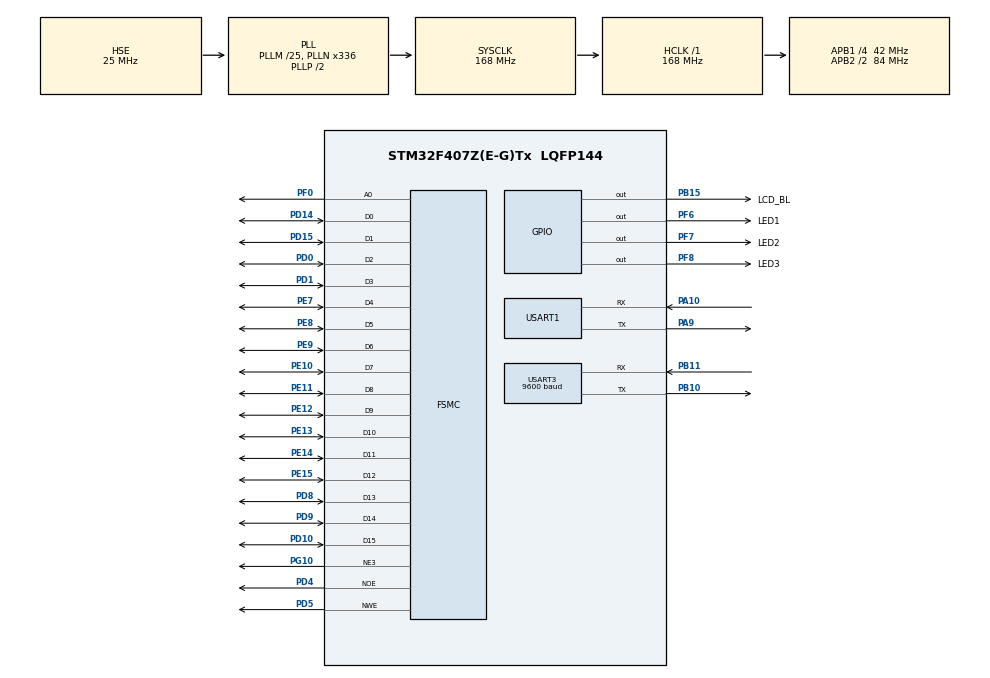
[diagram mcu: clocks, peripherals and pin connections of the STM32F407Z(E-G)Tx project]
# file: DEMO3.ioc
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FREERTOS.Tasks01=defaultTask,24,128,StartDefaultTask,Default,NULL,Dynamic,NULL,NULL;TaskLoRa,40,512,StartTask02,Default,NULL,Dynamic,NULL,NULL;TaskLCD,24,1024,StartTask03,Default,NULL,Dynamic,NULL,NULL
FREERTOS.configTOTAL_HEAP_SIZE=32768
FSMC.AddressSetupTime3=4
FSMC.BusTurnAroundDuration3=0
FSMC.DataSetupTime3=15
Mcu.Family=STM32F4
Mcu.Name=STM32F407Z(E-G)Tx
Mcu.Package=LQFP144
NVIC.PriorityGroup=NVIC_PRIORITYGROUP_4
NVIC.TIM1_UP_TIM10_IRQn=true\:15\:0\:false\:false\:true\:false\:false\:true\:true
NVIC.TimeBase=TIM1_UP_TIM10_IRQn
NVIC.TimeBaseIP=TIM1
NVIC.USART3_IRQn=true\:5\:0\:false\:false\:true\:true\:true\:true\:true
PA10.Mode=Asynchronous
PA10.Signal=USART1_RX
PA13.Mode=Serial_Wire
PA13.Signal=SYS_JTMS-SWDIO
PA14.Mode=Serial_Wire
PA14.Signal=SYS_JTCK-SWCLK
PA9.Mode=Asynchronous
PA9.Signal=USART1_TX
PB10.Mode=Asynchronous
PB10.Signal=USART3_TX
PB11.Mode=Asynchronous
PB11.Signal=USART3_RX
PB15.GPIO_Label=LCD_BL
PB15.PinState=GPIO_PIN_SET
PB15.Signal=GPIO_Output
PD0.Signal=FSMC_D2_DA2
PD1.Signal=FSMC_D3_DA3
PD10.Signal=FSMC_D15_DA15
PD14.Signal=FSMC_D0_DA0
PD15.Signal=FSMC_D1_DA1
PD4.Signal=FSMC_NOE
PD5.Signal=FSMC_NWE
PD8.Signal=FSMC_D13_DA13
PD9.Signal=FSMC_D14_DA14
PE10.Signal=FSMC_D7_DA7
PE11.Signal=FSMC_D8_DA8
PE12.Signal=FSMC_D9_DA9
PE13.Signal=FSMC_D10_DA10
PE14.Signal=FSMC_D11_DA11
PE15.Signal=FSMC_D12_DA12
PE7.Signal=FSMC_D4_DA4
PE8.Signal=FSMC_D5_DA5
PE9.Signal=FSMC_D6_DA6
PF0.Signal=FSMC_A0
PF6.GPIO_Label=LED1
PF6.PinState=GPIO_PIN_SET
PF6.Signal=GPIO_Output
PF7.GPIO_Label=LED2
PF7.PinState=GPIO_PIN_SET
PF7.Signal=GPIO_Output
PF8.GPIO_Label=LED3
PF8.PinState=GPIO_PIN_SET
PF8.Signal=GPIO_Output
PG10.Mode=NorPsramChipSelect3_3
PG10.Signal=FSMC_NE3
PH0-OSC_IN.Mode=HSE-External-Oscillator
PH0-OSC_IN.Signal=RCC_OSC_IN
PH1-OSC_OUT.Mode=HSE-External-Oscillator
PH1-OSC_OUT.Signal=RCC_OSC_OUT
ProjectManager.HeapSize=0x200
ProjectManager.StackSize=0x400
ProjectManager.TargetToolchain=MDK-ARM V5.27
RCC.48MHZClocksFreq_Value=84000000
RCC.AHBFreq_Value=168000000
RCC.APB1CLKDivider=RCC_HCLK_DIV4
RCC.APB1Freq_Value=42000000
RCC.APB1TimFreq_Value=84000000
RCC.APB2CLKDivider=RCC_HCLK_DIV2
RCC.APB2Freq_Value=84000000
RCC.APB2TimFreq_Value=168000000
RCC.CortexFreq_Value=168000000
RCC.HCLKFreq_Value=168000000
RCC.HSE_VALUE=25000000
RCC.HSI_VALUE=16000000
RCC.LSE_VALUE=32768
RCC.PLLM=25
RCC.PLLN=336
RCC.PLLSourceVirtual=RCC_PLLSOURCE_HSE
RCC.SYSCLKFreq_VALUE=168000000
RCC.SYSCLKSource=RCC_SYSCLKSOURCE_PLLCLK
RCC.VCOOutputFreq_Value=336000000
SH.FSMC_A0.0=FSMC_A0,A0_3
SH.FSMC_D0_DA0.0=FSMC_D0,16b-d3
SH.FSMC_D10_DA10.0=FSMC_D10,16b-d3
SH.FSMC_D11_DA11.0=FSMC_D11,16b-d3
SH.FSMC_D12_DA12.0=FSMC_D12,16b-d3
SH.FSMC_D13_DA13.0=FSMC_D13,16b-d3
SH.FSMC_D14_DA14.0=FSMC_D14,16b-d3
SH.FSMC_D15_DA15.0=FSMC_D15,16b-d3
SH.FSMC_D1_DA1.0=FSMC_D1,16b-d3
SH.FSMC_D2_DA2.0=FSMC_D2,16b-d3
SH.FSMC_D3_DA3.0=FSMC_D3,16b-d3
SH.FSMC_D4_DA4.0=FSMC_D4,16b-d3
SH.FSMC_D5_DA5.0=FSMC_D5,16b-d3
SH.FSMC_D6_DA6.0=FSMC_D6,16b-d3
SH.FSMC_D7_DA7.0=FSMC_D7,16b-d3
SH.FSMC_D8_DA8.0=FSMC_D8,16b-d3
SH.FSMC_D9_DA9.0=FSMC_D9,16b-d3
SH.FSMC_NOE.0=FSMC_NOE,Lcd3
SH.FSMC_NWE.0=FSMC_NWE,Lcd3
USART1.VirtualMode=VM_ASYNC
USART3.BaudRate=9600
USART3.VirtualMode=VM_ASYNC
VP_FREERTOS_VS_CMSIS_V2.Mode=CMSIS_V2
VP_SYS_VS_tim1.Mode=TIM1
board=custom

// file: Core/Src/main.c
/* USER CODE BEGIN Header */
/**
  ******************************************************************************
  * @file           : main.c
  * @brief          : Main program body
  ******************************************************************************
  * @attention
  *
  * Copyright (c) 2026 STMicroelectronics.
  * All rights reserved.
  *
  * This software is licensed under terms that can be found in the LICENSE file
  * in the root directory of this software component.
  * If no LICENSE file comes with this software, it is provided AS-IS.
  *
  ******************************************************************************
  */
/* USER CODE END Header */
#include "main.h"
#include "cmsis_os.h"
#include "usart.h"
#include "gpio.h"
#include "fsmc.h"

/* USER CODE BEGIN Includes */

#include <stdio.h>
#include "lora_protocol.h"
#include "bsp_nt35510_lcd.h"
#include "fonts.h"

/* USER CODE END Includes */

/* USER CODE BEGIN PV */

extern void LoRa_Rx_Handler(uint8_t byte);

/* USER CODE END PV */

void SystemClock_Config(void);
void MX_FREERTOS_Init(void);

/* USER CODE BEGIN 0 */

/* --- 1. 重定向 printf 到 UART1 (连接电脑) --- */
int fputc(int ch, FILE *f)
{
  // 注意：此处使用 &huart1
  HAL_UART_Transmit(&huart1, (uint8_t *)&ch, 1, 0xFFFF);
  return ch;
}

/* USER CODE END 0 */

int main(void)
{

  /* MCU Configuration--------------------------------------------------------*/

  /* Reset of all peripherals, Initializes the Flash interface and the Systick. */
  HAL_Init();

  /* Configure the system clock */
  SystemClock_Config();

  /* Initialize all configured peripherals */
  MX_GPIO_Init();
  MX_USART1_UART_Init();
  MX_USART3_UART_Init();
  MX_FSMC_Init();
  /* USER CODE BEGIN 2 */

  printf("STM32F407 LoRa Receiver Ready!\r\n");
  printf("UART1 -> PC, UART3 -> LoRa\r\n");

  // --- 2. 开启 UART3 接收中断 (重要) ---
  // 启动接收 1 个字节，数据存入 rx_byte_u3
  HAL_UART_Receive_IT(&huart3, &rx_byte_u3, 1);

	// 1. 初始化屏幕 (这一步非常关键)
  NT35510_Init();

  // 2. 确保背光点亮 (双重保险)
  HAL_GPIO_WritePin(LCD_BL_GPIO_Port, LCD_BL_Pin, GPIO_PIN_SET);

  // 3. 刷屏测试
  // 模式6通常是横屏，如果方向反了试下 0-7
  NT35510_GramScan(6);

  // 清屏为黑色
  LCD_SetColors(WHITE, BLACK);
  NT35510_Clear(0, 0, 800, 480);

  // 显示文字
  LCD_SetFont(&Font16x32);
  NT35510_DispStringLine_EN(LINE(1), (char*)"     STM32 LoRa Ready     ");
  NT35510_DispStringLine_EN(LINE(2), (char*)"--------------------------");

  /* USER CODE END 2 */

  /* Init scheduler */
  osKernelInitialize();  /* Call init function for freertos objects (in cmsis_os2.c) */
  MX_FREERTOS_Init();

  /* Start scheduler */
  osKernelStart();

  /* We should never get here as control is now taken by the scheduler */

  /* Infinite loop */
  while (1)
  {

    /* USER CODE BEGIN 3 */
    // --- 3. 轮询处理数据 ---
//    LoRa_Task_Process();

//    HAL_GPIO_TogglePin(LED1_GPIO_Port, LED1_Pin);
//
//		HAL_Delay(500);

  }
  /* USER CODE END 3 */
}

void SystemClock_Config(void)
{
  RCC_OscInitTypeDef RCC_OscInitStruct = {0};
  RCC_ClkInitTypeDef RCC_ClkInitStruct = {0};

  /** Configure the main internal regulator output voltage
  */
  __HAL_RCC_PWR_CLK_ENABLE();
  __HAL_PWR_VOLTAGESCALING_CONFIG(PWR_REGULATOR_VOLTAGE_SCALE1);

  /** Initializes the RCC Oscillators according to the specified parameters
  * in the RCC_OscInitTypeDef structure.
  */
  RCC_OscInitStruct.OscillatorType = RCC_OSCILLATORTYPE_HSE;
  RCC_OscInitStruct.HSEState = RCC_HSE_ON;
  RCC_OscInitStruct.PLL.PLLState = RCC_PLL_ON;
  RCC_OscInitStruct.PLL.PLLSource = RCC_PLLSOURCE_HSE;
  RCC_OscInitStruct.PLL.PLLM = 25;
  RCC_OscInitStruct.PLL.PLLN = 336;
  RCC_OscInitStruct.PLL.PLLP = RCC_PLLP_DIV2;
  RCC_OscInitStruct.PLL.PLLQ = 4;
  if (HAL_RCC_OscConfig(&RCC_OscInitStruct) != HAL_OK)
  {
    Error_Handler();
  }

  /** Initializes the CPU, AHB and APB buses clocks
  */
  RCC_ClkInitStruct.ClockType = RCC_CLOCKTYPE_HCLK|RCC_CLOCKTYPE_SYSCLK
                              |RCC_CLOCKTYPE_PCLK1|RCC_CLOCKTYPE_PCLK2;
  RCC_ClkInitStruct.SYSCLKSource = RCC_SYSCLKSOURCE_PLLCLK;
  RCC_ClkInitStruct.AHBCLKDivider = RCC_SYSCLK_DIV1;
  RCC_ClkInitStruct.APB1CLKDivider = RCC_HCLK_DIV4;
  RCC_ClkInitStruct.APB2CLKDivider = RCC_HCLK_DIV2;

  if (HAL_RCC_ClockConfig(&RCC_ClkInitStruct, FLASH_LATENCY_5) != HAL_OK)
  {
    Error_Handler();
  }
}

/* USER CODE BEGIN 4 */

/* --- 4. 串口中断回调函数 --- */
void HAL_UART_RxCpltCallback(UART_HandleTypeDef *huart)
{
    // 判断是否是 UART3 (LoRa) 触发的中断
    if(huart->Instance == USART3)
    {
        // 处理接收到的字节
        LoRa_Rx_Handler(rx_byte_u3);

        // 重新开启中断，准备接收下一个字节
        HAL_UART_Receive_IT(&huart3, &rx_byte_u3, 1);
    }
}

/* USER CODE END 4 */

void HAL_TIM_PeriodElapsedCallback(TIM_HandleTypeDef *htim)
{
  if (htim->Instance == TIM1)
  {
    HAL_IncTick();
  }
}

void Error_Handler(void)
{
  __disable_irq();
  while (1)
  {
  }
}

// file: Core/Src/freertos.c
/* USER CODE BEGIN Header */
/**
  ******************************************************************************
  * File Name          : freertos.c
  * Description        : Code for freertos applications
  ******************************************************************************
  * @attention
  *
  * Copyright (c) 2026 STMicroelectronics.
  * All rights reserved.
  *
  * This software is licensed under terms that can be found in the LICENSE file
  * in the root directory of this software component.
  * If no LICENSE file comes with this software, it is provided AS-IS.
  *
  ******************************************************************************
  */
/* USER CODE END Header */

#include "FreeRTOS.h"
#include "task.h"
#include "main.h"
#include "cmsis_os.h"

/* USER CODE BEGIN Includes */
#include <stdio.h>
#include "usart.h"           // ?? huart1 ??
#include "lora_protocol.h"
#include "bsp_nt35510_lcd.h"
#include "fonts.h"

/* USER CODE END Includes */

/* USER CODE BEGIN Variables */

osMessageQueueId_t LoRaDataQueueHandle;  // ????????

/* USER CODE END Variables */
/* Definitions for defaultTask */
osThreadId_t defaultTaskHandle;
const osThreadAttr_t defaultTask_attributes = {
  .name = "defaultTask",
  .stack_size = 128 * 4,
  .priority = (osPriority_t) osPriorityNormal,
};
/* Definitions for TaskLoRa */
osThreadId_t TaskLoRaHandle;
const osThreadAttr_t TaskLoRa_attributes = {
  .name = "TaskLoRa",
  .stack_size = 512 * 4,
  .priority = (osPriority_t) osPriorityHigh,
};
/* Definitions for TaskLCD */
osThreadId_t TaskLCDHandle;
const osThreadAttr_t TaskLCD_attributes = {
  .name = "TaskLCD",
  .stack_size = 1024 * 4,
  .priority = (osPriority_t) osPriorityNormal,
};

void StartDefaultTask(void *argument);
void StartTask02(void *argument);
void StartTask03(void *argument);

void MX_FREERTOS_Init(void); /* (MISRA C 2004 rule 8.1) */

void MX_FREERTOS_Init(void) {

  /* USER CODE BEGIN RTOS_QUEUES */
  /* add queues, ... */

	// ????:?? 2 ??,?????? LoRa_Packet_t ??????
	LoRaDataQueueHandle = osMessageQueueNew(2, sizeof(LoRa_Packet_t), NULL);

  /* USER CODE END RTOS_QUEUES */

  /* Create the thread(s) */
  /* creation of defaultTask */
  defaultTaskHandle = osThreadNew(StartDefaultTask, NULL, &defaultTask_attributes);

  /* creation of TaskLoRa */
  TaskLoRaHandle = osThreadNew(StartTask02, NULL, &TaskLoRa_attributes);

  /* creation of TaskLCD */
  TaskLCDHandle = osThreadNew(StartTask03, NULL, &TaskLCD_attributes);

}

void StartDefaultTask(void *argument)
{
  for(;;)
  {
    osDelay(1);
  }
}

void StartTask02(void *argument)
{
  /* USER CODE BEGIN StartTask02 */
  /* Infinite loop */
  for(;;)
  {
// ????? LoRa ???? (is_data_ready ?????)
    if (is_data_ready)
    {
      is_data_ready = 0; // ?????

      // 1. ?????? VOFA+
      HAL_UART_Transmit(&huart1, (uint8_t*)&received_data, sizeof(LoRa_Packet_t), 10);

      // 2. ???????,??? LCD ?? (????)
      osMessageQueuePut(LoRaDataQueueHandle, &received_data, 0U, 0U);
    }

    // ??????? 5ms ???,???????????? CPU
    osDelay(5);  }
  /* USER CODE END StartTask02 */
}

void StartTask03(void *argument)
{
  /* USER CODE BEGIN StartTask03 */
	LoRa_Packet_t lcd_data;
  char lcd_buf[64];

  // ??????????,??????
  LCD_SetColors(WHITE, BLACK);
  NT35510_DispStringLine_EN(LINE(1), (char*)"   RTOS LoRa Terminal ");

  for(;;)
  {
    // ??????,????????
    // osWaitForever ?????????,LCD ??????? CPU ??
    if (osMessageQueueGet(LoRaDataQueueHandle, &lcd_data, NULL, osWaitForever) == osOK)
    {
      // --- ?????? ---
      LCD_SetFont(&Font16x32);

        // --- 显示温度 (Temp) ---
        // 为了防止数字变化时原来的字没擦干净，我们在字符串后面多加几个空格覆盖
        sprintf(lcd_buf, "Temp: %.1f C     ", received_data.temperature);
        LCD_SetColors(RED, BLACK); // 温度用红色显示
        NT35510_DispStringLine_EN(LINE(3), (char*)lcd_buf);

        // --- 显示湿度 (Hum) ---
        sprintf(lcd_buf, "Hum:  %.1f %%     ", received_data.humidity);
        LCD_SetColors(BLUE, BLACK); // 湿度用蓝色显示
        NT35510_DispStringLine_EN(LINE(4), (char*)lcd_buf);

        // --- 显示姿态 (Pitch/Roll) ---
        sprintf(lcd_buf, "acc_x: %.3f   gyro_x: %.3f", received_data.acc_x, received_data.gyro_x);
        LCD_SetColors(YELLOW, BLACK); // 姿态用黄色
        NT35510_DispStringLine_EN(LINE(6), (char*)lcd_buf);

        sprintf(lcd_buf, "acc_y: %.3f   gyro_y: %.3f", received_data.acc_y, received_data.gyro_y);
        LCD_SetColors(YELLOW, BLACK); // 姿态用黄色
        NT35510_DispStringLine_EN(LINE(8), (char*)lcd_buf);

        sprintf(lcd_buf, "acc_z: %.3f   gyro_z: %.3f", received_data.acc_z, received_data.gyro_z);
        LCD_SetColors(YELLOW, BLACK); // 姿态用黄色
        NT35510_DispStringLine_EN(LINE(10), (char*)lcd_buf);

        // --- 如果有 RSSI (信号强度) ---
        // 假设你有一个变量存RSSI，如果没有可以先显示经纬度
        sprintf(lcd_buf, "Lat: %.4f       Lon: %.4f", received_data.latitude, received_data.longitude);
        LCD_SetColors(WHITE, BLACK);
        NT35510_DispStringLine_EN(LINE(12), (char*)lcd_buf);

        // 记得最后改回白色，以免影响其他显示
        LCD_SetColors(WHITE, BLACK);

				// ----------------------------------------
        // 3. 心跳指示 (Heartbeat)
        // ----------------------------------------
        // 定义一个静态变量，每次进入函数时它的值会被保留
        static uint8_t heartbeat_toggle = 0;

        heartbeat_toggle = !heartbeat_toggle; // 每次取反：0->1, 1->0

        if (heartbeat_toggle) {
            LCD_SetColors(GREEN, BLACK);
            // 在第0行末尾画一个圈或星号
            NT35510_DispStringLine_EN(LINE(5), (char*)"                      *");
        } else {
            LCD_SetColors(BLACK, BLACK); // 用黑色擦除它
            NT35510_DispStringLine_EN(LINE(5), (char*)"                      *");
        }
		// 新增：在屏幕最底部显示堆栈余量（调试用）
    char debug_buf[32];
    uint32_t free_mark = uxTaskGetStackHighWaterMark(NULL); // NULL 代表获取当前任务
    sprintf(debug_buf, "Stack Free: %ld  ", free_mark);
    LCD_SetColors(GREEN, BLACK); // 用灰色小字显示
    NT35510_DispStringLine_EN(LINE(14), (char*)debug_buf);
    }
  }
  /* USER CODE END StartTask03 */
}

/* USER CODE BEGIN Application */
#include "task.h"

void Check_Stack_Level(void) {
    // 获取 TaskLCD 任务的剩余堆栈“水位”
    // 这个函数返回的是字 (Words) 为单位的剩余空间
    uint32_t lcd_stack_free = uxTaskGetStackHighWaterMark(TaskLCDHandle);
    uint32_t lora_stack_free = uxTaskGetStackHighWaterMark(TaskLoRaHandle);

    // 打印到串口，或者直接显示在 LCD 屏幕最下方
    printf("Stack Free -> LCD: %ld words, LoRa: %ld words\r\n", lcd_stack_free, lora_stack_free);
}
/* USER CODE END Application */
